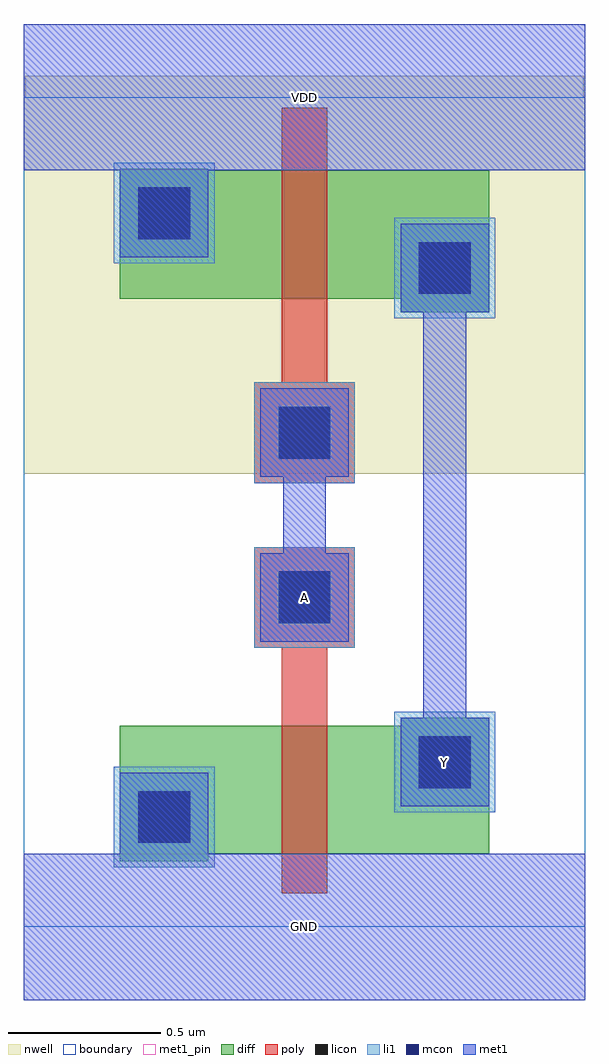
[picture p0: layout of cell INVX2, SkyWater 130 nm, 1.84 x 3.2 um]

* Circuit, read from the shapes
.subckt INVX2 A GND VDD Y
XM1 Y A GND VSUBS sky130_fd_pr__nfet_01v8 w=0.42 l=0.15
XM2 Y A VDD n1 sky130_fd_pr__pfet_01v8 w=0.42 l=0.15
.ends

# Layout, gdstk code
import gdstk
lib = gdstk.Library(unit=1e-6, precision=1e-09)
def R(c, l, rs):  # rectangles x0, y0, x1, y1
    for r in rs: c.add(gdstk.rectangle(r[:2], r[2:], *l))
def P(c, l, *ps):  # polygons
    for p in ps: c.add(gdstk.Polygon(p, *l))
nwell = (64, 20)
diff = (65, 20)
poly = (66, 20)
licon = (66, 44)
li1 = (67, 20)
mcon = (67, 44)
met1_pin = (68, 16)
met1 = (68, 20)
boundary = (235, 4)

invx2 = lib.new_cell('INVX2')
P(invx2, nwell, [(0,1.485),(0,2.72),(0.005,2.72),(0.005,2.79),(1.835,2.79),(1.835,2.72),(1.84,2.72),(1.84,1.485)])
P(invx2, diff, [(0.315,0.215),(0.315,0.66),(1.235,0.66),(1.235,0.685),(1.525,0.685),(1.525,0.24),(0.605,0.24),(0.605,0.215)],
  [(1.235,2.015),(1.235,2.06),(0.315,2.06),(0.315,2.485),(0.605,2.485),(0.605,2.48),(1.525,2.48),(1.525,2.015)])
P(invx2, poly, [(0.845,0.11),(0.845,0.915),(0.755,0.915),(0.755,1.245),(1.085,1.245),(1.085,0.915),(0.995,0.915),(0.995,0.11)],
  [(0.755,1.455),(0.755,1.785),(0.845,1.785),(0.845,2.685),(0.995,2.685),(0.995,1.785),(1.085,1.785),(1.085,1.455)])
R(invx2, licon, [(0.375,0.275,0.545,0.445), (1.295,0.455,1.465,0.625), (0.835,0.995,1.005,1.165), (0.835,1.535,1.005,1.705), (1.295,2.075,1.465,2.245), (0.375,2.255,0.545,2.425)])
R(invx2, li1, [(0.295,0.195,0.625,0.525), (1.215,0.375,1.545,0.705), (0.755,0.915,1.085,1.245), (0.755,1.455,1.085,1.785), (1.215,1.995,1.545,2.325), (0.295,2.175,0.625,2.505)])
R(invx2, mcon, [(0.375,0.275,0.545,0.445), (1.295,0.455,1.465,0.625), (0.835,0.995,1.005,1.165), (0.835,1.535,1.005,1.705), (1.295,2.075,1.465,2.245), (0.375,2.255,0.545,2.425)])
R(invx2, met1_pin, [(0,-0.24,1.84,0.24), (0,2.48,1.84,2.96)])
P(invx2, met1_pin, [(1.235,0.395),(1.235,0.685),(1.31,0.685),(1.31,2.015),(1.235,2.015),(1.235,2.305),(1.525,2.305),(1.525,2.015),(1.45,2.015),(1.45,0.685),(1.525,0.685),(1.525,0.395)],
  [(0.775,0.935),(0.775,1.225),(0.85,1.225),(0.85,1.475),(0.775,1.475),(0.775,1.765),(1.065,1.765),(1.065,1.475),(0.99,1.475),(0.99,1.225),(1.065,1.225),(1.065,0.935)])
P(invx2, met1, [(0,-0.24),(0,0.24),(0.315,0.24),(0.315,0.505),(0.605,0.505),(0.605,0.24),(1.84,0.24),(1.84,-0.24)],
  [(0.775,0.935),(0.775,1.225),(0.85,1.225),(0.85,1.475),(0.775,1.475),(0.775,1.765),(1.065,1.765),(1.065,1.475),(0.99,1.475),(0.99,1.225),(1.065,1.225),(1.065,0.935)],
  [(1.235,0.395),(1.235,0.685),(1.31,0.685),(1.31,2.015),(1.235,2.015),(1.235,2.305),(1.525,2.305),(1.525,2.015),(1.45,2.015),(1.45,0.685),(1.525,0.685),(1.525,0.395)],
  [(0.315,2.195),(0.315,2.48),(0,2.48),(0,2.96),(1.84,2.96),(1.84,2.48),(0.605,2.48),(0.605,2.195)])
R(invx2, boundary, [(0,0,1.84,2.72)])
invx2.add(gdstk.Label('Y', (1.38,0.54), layer=68, texttype=5))
invx2.add(gdstk.Label('A', (0.92,1.08), layer=68, texttype=5))
invx2.add(gdstk.Label('GND', (0.92,0), layer=68, texttype=5))
invx2.add(gdstk.Label('VDD', (0.92,2.72), layer=68, texttype=5))

lib.write_gds('INVX2.gds')
